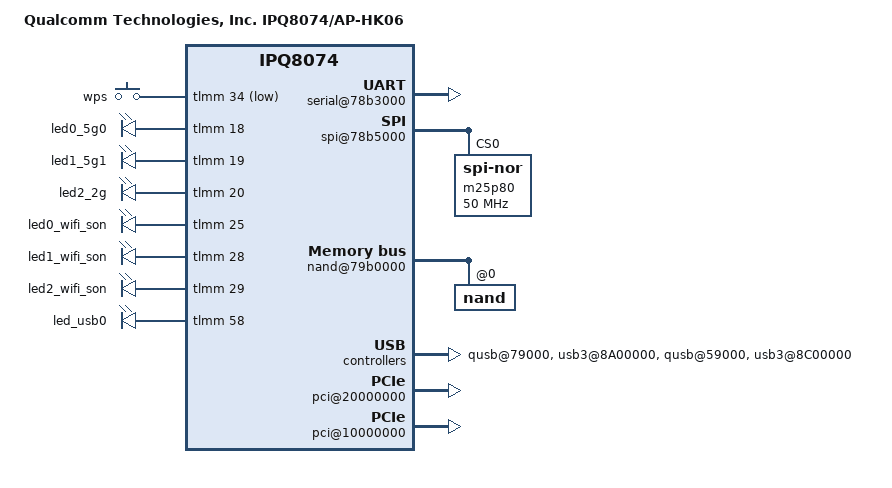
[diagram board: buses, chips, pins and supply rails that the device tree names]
// SPDX-License-Identifier: GPL-2.0-only
/dts-v1/;
/* Copyright (c) 2020 The Linux Foundation. All rights reserved.
 */
#include "ipq8074.dtsi"

/ {
	#address-cells = <0x2>;
	#size-cells = <0x2>;
	model = "Qualcomm Technologies, Inc. IPQ8074/AP-HK06";
	compatible = "qcom,ipq8074-ap-hk06", "qcom,ipq8074";
	interrupt-parent = <&intc>;

	aliases {
		serial0 = &blsp1_uart5;
	};

	chosen {
		stdout-path = "serial0";
	};

	soc {
		pinctrl@1000000 {
			button_pins: button_pins {
				wps_button {
					pins = "gpio34";
					function = "gpio";
					drive-strength = <8>;
					bias-pull-up;
				};
			};

			leds_pins: leds_pinmux {
				led0_5g0 {
					pins = "gpio18";
					function = "gpio";
					drive-strength = <8>;
					bias-pull-down;
				};
				led1_5g1 {
					pins = "gpio19";
					function = "gpio";
					drive-strength = <8>;
					bias-pull-down;
				};
				led2_2g {
					pins = "gpio20";
					function = "gpio";
					drive-strength = <8>;
					bias-pull-down;
				};
				led0_wifi_son {
					pins = "gpio25";
					function = "gpio";
					drive-strength = <8>;
					bias-pull-down;
				};
				led1_wifi_son {
					pins = "gpio28";
					function = "gpio";
					drive-strength = <8>;
					bias-pull-down;
				};
				led2_wifi_son {
					pins = "gpio29";
					function = "gpio";
					drive-strength = <8>;
					bias-pull-down;
				};
				led_usb0 {
					pins = "gpio58";
					function = "gpio";
					drive-strength = <8>;
					bias-pull-down;
				};
			};
		};

		serial@78b3000 {
			status = "ok";
		};

		spi@78b5000 {
			status = "ok";
			pinctrl-0 = <&spi_0_pins>;
			pinctrl-names = "default";
			cs-select = <0>;

			m25p80@0 {
				  compatible = "jedec,spi-nor";
				  #address-cells = <1>;
				  #size-cells = <1>;
				  reg = <0>;
				  spi-max-frequency = <50000000>;
			};
		};

		dma@7984000 {
			 status = "ok";
		};

		nand@79b0000 {
			status = "ok";

			nand@0 {
				reg = <0>;
				#address-cells = <1>;
				#size-cells = <1>;

				nand-ecc-strength = <4>;
				nand-ecc-step-size = <512>;
				nand-bus-width = <8>;
			};
		};

		qusb@79000 {
			status = "ok";
		};

		ssphy@78000 {
			status = "ok";
		};

		usb3@8A00000 {
			status = "ok";
		};

		qusb@59000 {
			status = "ok";
		};

		ssphy@58000 {
			status = "ok";
		};

		usb3@8C00000 {
			status = "ok";
		};

		phy@84000 {
			status = "ok";
		};

		phy@86000 {
			status = "ok";
		};

		pci@20000000 {
			perst-gpio = <&tlmm 58 1>;
			status = "ok";
		};

		phy@8e000 {
			status = "ok";
		};

		pci@10000000 {
			perst-gpio = <&tlmm 61 0x1>;
			status = "ok";
		};

		gpio_keys {
			compatible = "gpio-keys";
			pinctrl-0 = <&button_pins>;
			pinctrl-names = "default";
			status = "ok";

			button@1 {
				label = "wps";
				linux,code = <KEY_WPS_BUTTON>;
				gpios = <&tlmm 34 GPIO_ACTIVE_LOW>;
				linux,input-type = <1>;
				debounce-interval = <60>;
			};
		};

		leds {
			compatible = "gpio-leds";
			pinctrl-0 = <&leds_pins>;
			pinctrl-names = "default";

			led@18 {
				label = "led0_5g0";
				gpios = <&tlmm 18 GPIO_ACTIVE_HIGH>;
				linux,default-trigger = "led_5g0";
				default-state = "off";
			};

			led@19 {
				label = "led1_5g1";
				gpios = <&tlmm 19 GPIO_ACTIVE_HIGH>;
				linux,default-trigger = "led_5g1";
				default-state = "off";
			};

			led@20 {
				label = "led2_2g";
				gpios = <&tlmm 20 GPIO_ACTIVE_HIGH>;
				linux,default-trigger = "led_2g";
				default-state = "off";
			};

			led@25 {
				label = "led0_wifi_son";
				gpios = <&tlmm 25 GPIO_ACTIVE_HIGH>;
				linux,default-trigger = "led_wifi_son_0";
				default-state = "off";
			};

			led@28 {
				label = "led1_wifi_son";
				gpios = <&tlmm 28 GPIO_ACTIVE_HIGH>;
				linux,default-trigger = "led_wifi_son_1";
				default-state = "off";
			};

			led@29 {
				label = "led2_wifi_son";
				gpios = <&tlmm 29 GPIO_ACTIVE_HIGH>;
				linux,default-trigger = "led_wifi_son_2";
				default-state = "off";
			};

			led@58 {
				label = "led_usb0";
				gpios = <&tlmm 58 GPIO_ACTIVE_HIGH>;
				linux,default-trigger = "led_usb";
				default-state = "off";
			};
		};
	};
};
